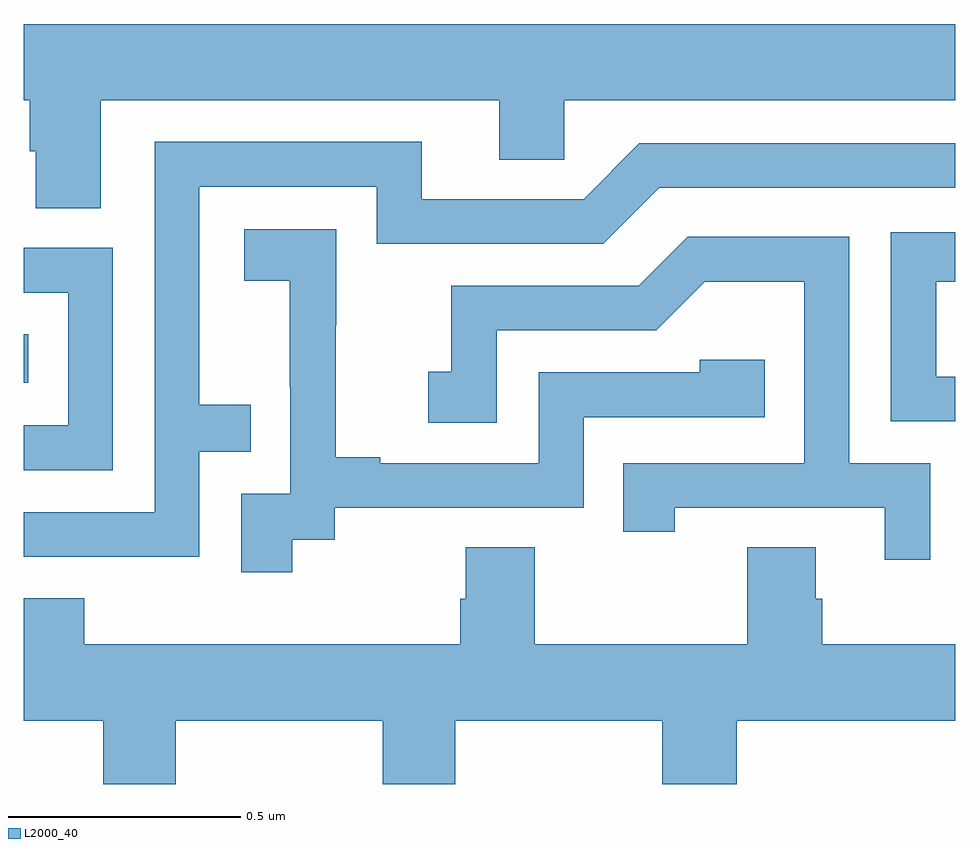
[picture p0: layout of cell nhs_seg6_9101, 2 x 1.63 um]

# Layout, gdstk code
import gdstk
lib = gdstk.Library(unit=1e-6, precision=1e-09)
def R(c, l, rs):  # rectangles x0, y0, x1, y1
    for r in rs: c.add(gdstk.rectangle(r[:2], r[2:], *l))
def P(c, l, *ps):  # polygons
    for p in ps: c.add(gdstk.Polygon(p, *l))
L2000_40 = (2000, 40)

nhs_seg6_9101 = lib.new_cell('nhs_seg6_9101')
R(nhs_seg6_9101, L2000_40, [(229,981.362,229.01,981.466)])
P(nhs_seg6_9101, L2000_40, [(229.165,981.968),(230.021,981.968),(230.021,981.841),(230.16,981.841),(230.16,981.968),(231,981.968),(231,982.132),(229,982.132),(229,981.968),(229.013,981.968),(229.013,981.859),(229.026,981.859),(229.026,981.736),(229.165,981.736)],
  [(229.377,981.213),(229.487,981.213),(229.487,981.314),(229.377,981.314),(229.377,981.783),(229.758,981.783),(229.758,981.66),(230.244,981.66),(230.364,981.78),(231,981.78),(231,981.876),(230.322,981.876),(230.202,981.756),(229.855,981.756),(229.855,981.879),(229.281,981.879),(229.281,981.084),(229,981.084),(229,980.988),(229.377,980.988)],
  [(229.576,981.025),(229.668,981.025),(229.668,981.093),(230.202,981.093),(230.202,981.288),(230.591,981.288),(230.591,981.411),(230.451,981.411),(230.451,981.384),(230.106,981.384),(230.106,981.189),(229.765,981.189),(229.765,981.202),(229.67,981.202),(229.67,981.485),(229.671,981.485),(229.671,981.691),(229.473,981.691),(229.473,981.581),(229.571,981.581),(229.571,981.353),(229.572,981.353),(229.572,981.123),(229.467,981.123),(229.467,980.955),(229.576,980.955)],
  [(231,981.375),(230.959,981.375),(230.959,981.579),(231,981.579),(231,981.685),(230.862,981.685),(230.862,981.279),(231,981.279)],
  [(230.946,981.189),(230.772,981.189),(230.772,981.675),(230.426,981.675),(230.321,981.57),(229.918,981.57),(229.918,981.385),(229.869,981.385),(229.869,981.276),(230.016,981.276),(230.016,981.474),(230.358,981.474),(230.462,981.578),(230.676,981.578),(230.676,981.189),(230.287,981.189),(230.287,981.042),(230.398,981.042),(230.398,981.093),(230.849,981.093),(230.849,980.982),(230.946,980.982)],
  [(229.191,981.651),(229,981.651),(229,981.555),(229.095,981.555),(229.095,981.27),(229,981.27),(229,981.174),(229.191,981.174)],
  [(229.326,980.636),(229.771,980.636),(229.771,980.5),(229.926,980.5),(229.926,980.636),(230.371,980.636),(230.371,980.5),(230.531,980.5),(230.531,980.636),(231,980.636),(231,980.8),(230.714,980.8),(230.714,980.898),(230.701,980.898),(230.701,981.008),(230.554,981.008),(230.554,980.8),(230.097,980.8),(230.097,981.008),(229.949,981.008),(229.949,980.898),(229.937,980.898),(229.937,980.8),(229.13,980.8),(229.13,980.899),(229,980.899),(229,980.636),(229.171,980.636),(229.171,980.5),(229.326,980.5)])

lib.write_gds('nhs_seg6_9101.gds')
